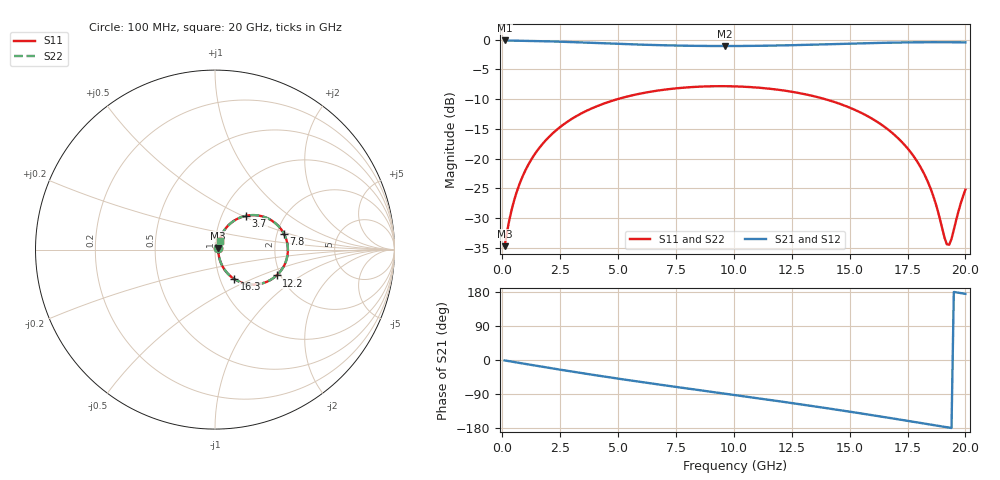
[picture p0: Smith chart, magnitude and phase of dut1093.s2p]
! Touchstone file exported from HFSS 2026.1.0
!  File:  C:/ffzhzh/LocalFiles/Ansys_Project_Files/temp_train_TSV_RDL_1093_1783302140_5512.aedt
!  Generated:  09:53:06 AM Jul  6, 2026
!  Design:  TSV_RDL
!  Project:  temp_train_TSV_RDL_1093_1783302140_5512
! Variables:
!  h_bsmrdl = 5.94um
!  h_ox = 20um
!  h_rdl = 5um
!  h_sub = 79.06um
!  h_tmrdl = 4.72um
!  h_tsv = 79.06um
!  h_via = 3um
!  l_bsmrdl = 108.7um
!  l_sub = 3013.76um
!  l_tmrdl = 535.09um
!  m_sub = 200um
!  pitch = 38.09um
!  r_tsv = 2.86um
!  s_tmrdl = 10um
!  w_bsmrdl = 27.19um
!  w_sub = 500um
!  w_tmrdl = 21.91um
!  x_tsv_center1 = 546.045um
!  x_tsv_center2 = 681.935um
!  x_tsv_center3 = 1238.935um
!  x_tsv_center4 = 1374.825um
!  x_tsv_center5 = 1931.825um
!  x_tsv_center6 = 2067.715um
# GHz S MA R 50.000000
! Terminal data exported
! Port[1] = TM_RDL1_1_T1
! Port[2] = TM_RDL5_1_T1
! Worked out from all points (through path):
!   200 points, 100 MHz to 20 GHz, reference 50 ohm
!   highest |S21| = -0.14 dB at 100 MHz (marker M1); lowest = -1.1 dB at 9.6 GHz (marker M2)
!   group delay of S21, straight-line fit = 25 ps
!   lowest |S11| = -34.7 dB at 100 MHz (marker M3), VSWR 1.04, Z = 51.7 + j0.87 ohm
!   |S11| at or under -10 dB: start of sweep to 4.983 GHz; 13.93 GHz to end of sweep
!   |S22| runs from -34.7 to -7.8 dB; largest |S21 - S12| = 1.9e-14
!   S11 on the Smith chart (normalised r, x): 100 MHz: 1.03, +0.02; 3.7 GHz: 1.30, +0.52; 7.8 GHz: 2.18, +0.45; 12.2 GHz: 1.91, -0.64; 16.3 GHz: 1.17, -0.40; 20 GHz: 1.05, +0.10
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0.1  0.01837 27.3  0.9838 -1.1  0.9838 -1.1  0.01837 27.3
! Gamma 0 0 0 0
! Port Impedance 50 0 50 0
0.3  0.0302 51.5  0.9822 -3.2  0.9822 -3.2  0.0302 51.5
0.6  0.05084 62.6  0.9805 -6.3  0.9805 -6.3  0.05084 62.6
1.2  0.09437 65.7  0.9762 -12.4  0.9762 -12.4  0.09437 65.7
2.2  0.1646 60.0  0.965 -22.5  0.965 -22.5  0.1646 60.0
3.5  0.2446 49.2  0.9453 -35.2  0.9453 -35.2  0.2446 49.2
3.7  0.2555 47.4  0.9421 -37.1  0.9421 -37.1  0.2555 47.4
6.8  0.375 21.1  0.8979 -65.0  0.8979 -65.0  0.375 21.1
7.8  0.3942 12.9  0.8893 -73.6  0.8893 -73.6  0.3942 12.9
9.6  0.406 -1.6  0.883 -88.8  0.883 -88.8  0.406 -1.6
10.1  0.4042 -5.7  0.8835 -93.0  0.8835 -93.0  0.4042 -5.6
12.2  0.3725 -22.7  0.8948 -111.0  0.8948 -111.0  0.3725 -22.7
13.4  0.3365 -32.6  0.9066 -121.6  0.9066 -121.6  0.3365 -32.6
15  0.2683 -46.0  0.9249 -136.3  0.9249 -136.3  0.2683 -46.0
16.3  0.1973 -56.6  0.9386 -148.7  0.9386 -148.7  0.1973 -56.5
16.7  0.1731 -59.7  0.9421 -152.6  0.9421 -152.6  0.1731 -59.5
17.5  0.1221 -64.7  0.9476 -160.5  0.9476 -160.5  0.1221 -64.5
18.2  0.07567 -66.0  0.9504 -167.4  0.9504 -167.4  0.07575 -65.7
18.7  0.043 -59.4  0.9511 -172.4  0.9511 -172.4  0.04317 -58.9
19.2  0.01903 -11.8  0.9506 -177.4  0.9506 -177.4  0.01943 -11.5
19.4  0.02115 26.4  0.9501 -179.4  0.9501 -179.4  0.02152 25.9
20  0.05479 62.4  0.9476 174.6  0.9476 174.6  0.05495 62.0
